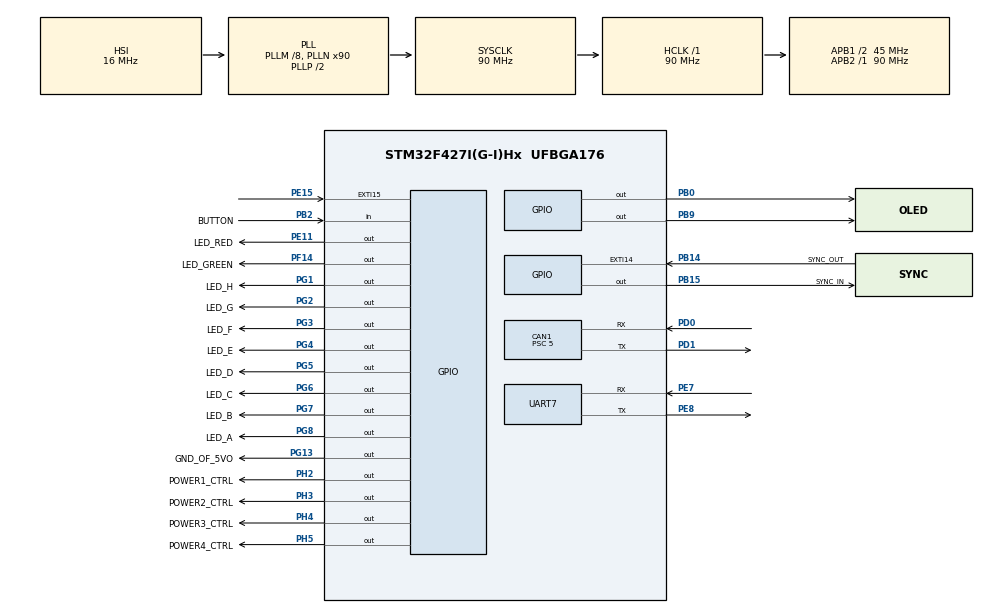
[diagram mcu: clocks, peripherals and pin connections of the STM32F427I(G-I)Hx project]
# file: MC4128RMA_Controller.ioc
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CAN1.ABOM=ENABLE
CAN1.BS1=CAN_BS1_3TQ
CAN1.BS2=CAN_BS2_5TQ
CAN1.CalculateBaudRate=1000000
CAN1.CalculateTimeBit=1000
CAN1.CalculateTimeQuantum=111.11111111111111
CAN1.Prescaler=5
Mcu.Family=STM32F4
Mcu.Name=STM32F427I(G-I)Hx
Mcu.Package=UFBGA176
NVIC.CAN1_RX0_IRQn=true\:0\:0\:true\:true\:true\:1\:true\:true\:true
NVIC.CAN1_RX1_IRQn=true\:0\:0\:false\:true\:true\:2\:true\:true\:true
NVIC.CAN1_TX_IRQn=true\:0\:0\:false\:true\:true\:3\:true\:true\:true
NVIC.PriorityGroup=NVIC_PRIORITYGROUP_4
NVIC.UART7_IRQn=true\:1\:0\:true\:false\:true\:true\:true\:true
PA0/WKUP.GPIO_Label=SERVO_PWM_S
PA0/WKUP.GPIO_ModeDefaultPP=GPIO_MODE_AF_PP
PA0/WKUP.GPIO_PuPd=GPIO_NOPULL
PA0/WKUP.GPIO_Speed=GPIO_SPEED_FREQ_LOW
PA0/WKUP.Signal=S_TIM2_CH1_ETR
PA1.GPIO_Label=SERVO_PWM_T
PA1.GPIO_ModeDefaultPP=GPIO_MODE_AF_PP
PA1.GPIO_PuPd=GPIO_NOPULL
PA1.GPIO_Speed=GPIO_SPEED_FREQ_LOW
PA1.Signal=S_TIM2_CH2
PA13.Mode=Serial_Wire
PA13.Signal=SYS_JTMS-SWDIO
PA14.Mode=Serial_Wire
PA14.Signal=SYS_JTCK-SWCLK
PA2.GPIO_Label=SERVO_PWM_U
PA2.GPIO_ModeDefaultPP=GPIO_MODE_AF_PP
PA2.GPIO_PuPd=GPIO_NOPULL
PA2.GPIO_Speed=GPIO_SPEED_FREQ_LOW
PA2.Signal=S_TIM2_CH3
PA3.GPIO_Label=SERVO_PWM_V
PA3.GPIO_ModeDefaultPP=GPIO_MODE_AF_PP
PA3.GPIO_PuPd=GPIO_NOPULL
PA3.GPIO_Speed=GPIO_SPEED_FREQ_LOW
PA3.Signal=S_TIM2_CH4
PA6.GPIO_Label=OLED_MI
PA6.Signal=SPI1_MISO
PA9.GPIO_Label=SERVO_PWM_A9
PA9.GPIO_ModeDefaultPP=GPIO_MODE_AF_PP
PA9.GPIO_Speed=GPIO_SPEED_FREQ_LOW
PA9.Signal=S_TIM1_CH2
PB0.GPIO_Label=OLED_B0?
PB0.Signal=GPIO_Output
PB13.Signal=CAN2_TX
PB14.GPIO_Label=SYNC_OUT
PB14.Signal=GPXTI14
PB15.GPIO_Label=SYNC_IN
PB15.Signal=GPIO_Output
PB2/BOOT1.GPIO_Label=BUTTON
PB2/BOOT1.Signal=GPIO_Input
PB5.GPIO_Label=HEAT_IMU
PB5.Signal=S_TIM3_CH2
PB7.GPIO_Label=DBUS_RX
PB7.Signal=USART1_RX
PB9.GPIO_Label=OLED_B9?
PB9.Signal=GPIO_Output
PD0.Mode=CAN_Activate
PD0.Signal=CAN1_RX
PD1.Mode=CAN_Activate
PD1.Signal=CAN1_TX
PD12.GPIO_Label=SERVO_PWM_H
PD12.GPIO_ModeDefaultPP=GPIO_MODE_AF_PP
PD12.GPIO_PuPd=GPIO_NOPULL
PD12.GPIO_Speed=GPIO_SPEED_FREQ_LOW
PD12.Signal=S_TIM4_CH1
PD13.GPIO_Label=SERVO_PWM_G
PD13.GPIO_ModeDefaultPP=GPIO_MODE_AF_PP
PD13.GPIO_PuPd=GPIO_NOPULL
PD13.GPIO_Speed=GPIO_SPEED_FREQ_LOW
PD13.Signal=S_TIM4_CH2
PD14.GPIO_Label=SERVO_PWM_F
PD14.GPIO_ModeDefaultPP=GPIO_MODE_AF_PP
PD14.GPIO_PuPd=GPIO_NOPULL
PD14.GPIO_Speed=GPIO_SPEED_FREQ_LOW
PD14.Signal=S_TIM4_CH3
PD15.GPIO_Label=SERVO_PWM_E
PD15.GPIO_ModeDefaultPP=GPIO_MODE_AF_PP
PD15.GPIO_PuPd=GPIO_NOPULL
PD15.GPIO_Speed=GPIO_SPEED_FREQ_LOW
PD15.Signal=S_TIM4_CH4
PE11.GPIO_Label=LED_RED
PE11.PinState=GPIO_PIN_RESET
PE11.Signal=GPIO_Output
PE13.GPIO_Label=SERVO_PWM_E13
PE13.GPIO_ModeDefaultPP=GPIO_MODE_AF_PP
PE13.GPIO_Speed=GPIO_SPEED_FREQ_LOW
PE13.Signal=S_TIM1_CH3
PE15.GPIO_Label=SD_EXTI?
PE15.GPIO_ModeDefaultEXTI=GPIO_MODE_IT_RISING_FALLING
PE15.Signal=GPXTI15
PE7.Mode=Asynchronous
PE7.Signal=UART7_RX
PE8.Mode=Asynchronous
PE8.Signal=UART7_TX
PF14.GPIO_Label=LED_GREEN
PF14.Signal=GPIO_Output
PG1.GPIO_Label=LED_H
PG1.GPIO_ModeDefaultOutputPP=GPIO_MODE_OUTPUT_PP
PG1.GPIO_PuPd=GPIO_NOPULL
PG1.GPIO_Speed=GPIO_SPEED_FREQ_LOW
PG1.PinState=GPIO_PIN_SET
PG1.Signal=GPIO_Output
PG13.GPIO_Label=GND_OF_5VO
PG13.Signal=GPIO_Output
PG2.GPIO_Label=LED_G
PG2.GPIO_ModeDefaultOutputPP=GPIO_MODE_OUTPUT_PP
PG2.GPIO_PuPd=GPIO_NOPULL
PG2.GPIO_Speed=GPIO_SPEED_FREQ_LOW
PG2.PinState=GPIO_PIN_SET
PG2.Signal=GPIO_Output
PG3.GPIO_Label=LED_F
PG3.PinState=GPIO_PIN_SET
PG3.Signal=GPIO_Output
PG4.GPIO_Label=LED_E
PG4.GPIO_ModeDefaultOutputPP=GPIO_MODE_OUTPUT_PP
PG4.GPIO_PuPd=GPIO_NOPULL
PG4.GPIO_Speed=GPIO_SPEED_FREQ_LOW
PG4.PinState=GPIO_PIN_SET
PG4.Signal=GPIO_Output
PG5.GPIO_Label=LED_D
PG5.GPIO_ModeDefaultOutputPP=GPIO_MODE_OUTPUT_PP
PG5.GPIO_PuPd=GPIO_NOPULL
PG5.GPIO_Speed=GPIO_SPEED_FREQ_LOW
PG5.PinState=GPIO_PIN_SET
PG5.Signal=GPIO_Output
PG6.GPIO_Label=LED_C
PG6.GPIO_ModeDefaultOutputPP=GPIO_MODE_OUTPUT_PP
PG6.GPIO_PuPd=GPIO_NOPULL
PG6.GPIO_Speed=GPIO_SPEED_FREQ_LOW
PG6.PinState=GPIO_PIN_SET
PG6.Signal=GPIO_Output
PG7.GPIO_Label=LED_B
PG7.GPIO_ModeDefaultOutputPP=GPIO_MODE_OUTPUT_PP
PG7.GPIO_PuPd=GPIO_NOPULL
PG7.GPIO_Speed=GPIO_SPEED_FREQ_LOW
PG7.PinState=GPIO_PIN_SET
PG7.Signal=GPIO_Output
PG8.GPIO_Label=LED_A
PG8.GPIO_ModeDefaultOutputPP=GPIO_MODE_OUTPUT_PP
PG8.GPIO_PuPd=GPIO_NOPULL
PG8.GPIO_Speed=GPIO_SPEED_FREQ_LOW
PG8.PinState=GPIO_PIN_SET
PG8.Signal=GPIO_Output
PH0/OSC_IN.Mode=HSE-External-Clock-Source
PH0/OSC_IN.Signal=RCC_OSC_IN
PH1/OSC_OUT.Mode=HSE-External-Clock-Source
PH1/OSC_OUT.Signal=RCC_OSC_OUT
PH10.GPIO_Label=SERVO_PWM_D
PH10.GPIO_ModeDefaultPP=GPIO_MODE_AF_PP
PH10.GPIO_PuPd=GPIO_NOPULL
PH10.GPIO_Speed=GPIO_SPEED_FREQ_LOW
PH10.Signal=S_TIM5_CH1
PH11.GPIO_Label=SERVO_PWM_C
PH11.GPIO_ModeDefaultPP=GPIO_MODE_AF_PP
PH11.GPIO_PuPd=GPIO_NOPULL
PH11.GPIO_Speed=GPIO_SPEED_FREQ_LOW
PH11.Signal=S_TIM5_CH2
PH12.GPIO_Label=SERVO_PWM_B
PH12.GPIO_ModeDefaultPP=GPIO_MODE_AF_PP
PH12.GPIO_PuPd=GPIO_NOPULL
PH12.GPIO_Speed=GPIO_SPEED_FREQ_LOW
PH12.Signal=S_TIM5_CH3
PH2.GPIO_Label=POWER1_CTRL
PH2.GPIO_ModeDefaultOutputPP=GPIO_MODE_OUTPUT_PP
PH2.GPIO_PuPd=GPIO_NOPULL
PH2.GPIO_Speed=GPIO_SPEED_FREQ_LOW
PH2.PinState=GPIO_PIN_SET
PH2.Signal=GPIO_Output
PH3.GPIO_Label=POWER2_CTRL
PH3.GPIO_ModeDefaultOutputPP=GPIO_MODE_OUTPUT_PP
PH3.GPIO_PuPd=GPIO_NOPULL
PH3.GPIO_Speed=GPIO_SPEED_FREQ_LOW
PH3.PinState=GPIO_PIN_SET
PH3.Signal=GPIO_Output
PH4.GPIO_Label=POWER3_CTRL
PH4.GPIO_ModeDefaultOutputPP=GPIO_MODE_OUTPUT_PP
PH4.GPIO_PuPd=GPIO_NOPULL
PH4.GPIO_Speed=GPIO_SPEED_FREQ_LOW
PH4.PinState=GPIO_PIN_SET
PH4.Signal=GPIO_Output
PH5.GPIO_Label=POWER4_CTRL
PH5.GPIO_ModeDefaultOutputPP=GPIO_MODE_OUTPUT_PP
PH5.GPIO_PuPd=GPIO_NOPULL
PH5.GPIO_Speed=GPIO_SPEED_FREQ_LOW
PH5.PinState=GPIO_PIN_SET
PH5.Signal=GPIO_Output
PI0.GPIO_Label=SERVO_PWM_A
PI0.GPIO_ModeDefaultPP=GPIO_MODE_AF_PP
PI0.GPIO_PuPd=GPIO_NOPULL
PI0.GPIO_Speed=GPIO_SPEED_FREQ_LOW
PI0.Signal=S_TIM5_CH4
PI2.GPIO_Label=SERVO_PWM_Z
PI2.GPIO_ModeDefaultPP=GPIO_MODE_AF_PP
PI2.GPIO_PuPd=GPIO_NOPULL
PI2.GPIO_Speed=GPIO_SPEED_FREQ_LOW
PI2.Signal=S_TIM8_CH4
PI5.GPIO_Label=SERVO_PWM_W
PI5.GPIO_ModeDefaultPP=GPIO_MODE_AF_PP
PI5.GPIO_PuPd=GPIO_NOPULL
PI5.GPIO_Speed=GPIO_SPEED_FREQ_LOW
PI5.Signal=S_TIM8_CH1
PI6.GPIO_Label=SERVO_PWM_X
PI6.GPIO_ModeDefaultPP=GPIO_MODE_AF_PP
PI6.GPIO_PuPd=GPIO_NOPULL
PI6.GPIO_Speed=GPIO_SPEED_FREQ_LOW
PI6.Signal=S_TIM8_CH2
PI7.GPIO_Label=SERVO_PWM_Y
PI7.GPIO_ModeDefaultPP=GPIO_MODE_AF_PP
PI7.GPIO_PuPd=GPIO_NOPULL
PI7.GPIO_Speed=GPIO_SPEED_FREQ_LOW
PI7.Signal=S_TIM8_CH3
ProjectManager.HeapSize=0x200
ProjectManager.StackSize=0x400
ProjectManager.TargetToolchain=STM32CubeIDE
RCC.48MHZClocksFreq_Value=60000000
RCC.AHBFreq_Value=90000000
RCC.APB1CLKDivider=RCC_HCLK_DIV2
RCC.APB1Freq_Value=45000000
RCC.APB1TimFreq_Value=90000000
RCC.APB2Freq_Value=90000000
RCC.APB2TimFreq_Value=90000000
RCC.CortexFreq_Value=90000000
RCC.HCLKFreq_Value=90000000
RCC.HSE_VALUE=12000000
RCC.HSI_VALUE=16000000
RCC.LSE_VALUE=32768
RCC.PLLM=8
RCC.PLLN=90
RCC.PLLQ=3
RCC.SYSCLKFreq_VALUE=90000000
RCC.SYSCLKSource=RCC_SYSCLKSOURCE_PLLCLK
RCC.VCOOutputFreq_Value=180000000
SH.S_TIM1_CH2.0=TIM1_CH2
SH.S_TIM1_CH3.0=TIM1_CH3
SH.S_TIM2_CH1_ETR.0=TIM2_CH1
SH.S_TIM2_CH2.0=TIM2_CH2
SH.S_TIM2_CH3.0=TIM2_CH3
SH.S_TIM2_CH4.0=TIM2_CH4
SH.S_TIM3_CH2.0=TIM3_CH2
SH.S_TIM4_CH1.0=TIM4_CH1
SH.S_TIM4_CH2.0=TIM4_CH2
SH.S_TIM4_CH3.0=TIM4_CH3
SH.S_TIM4_CH4.0=TIM4_CH4
SH.S_TIM5_CH1.0=TIM5_CH1
SH.S_TIM5_CH2.0=TIM5_CH2
SH.S_TIM5_CH3.0=TIM5_CH3
SH.S_TIM5_CH4.0=TIM5_CH4
SH.S_TIM8_CH1.0=TIM8_CH1
SH.S_TIM8_CH2.0=TIM8_CH2
SH.S_TIM8_CH3.0=TIM8_CH3
SH.S_TIM8_CH4.0=TIM8_CH4
UART7.VirtualMode=Asynchronous
VP_CRC_VS_CRC.Mode=CRC_Activate
board=custom

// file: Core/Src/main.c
/* USER CODE BEGIN Header */
/**
 ******************************************************************************
 * @file           : main.c
 * @brief          : Main program body
 ******************************************************************************
 * @attention
 *
 * Copyright (c) 2024 STMicroelectronics.
 * All rights reserved.
 *
 * This software is licensed under terms that can be found in the LICENSE file
 * in the root directory of this software component.
 * If no LICENSE file comes with this software, it is provided AS-IS.
 *
 ******************************************************************************
 */
/* USER CODE END Header */
#include "main.h"

/* USER CODE BEGIN Includes */
#include <stdio.h>
#include "USR_CAN.h"
#include "USR_PID.h"
#include "USR_RC.h"
/* USER CODE END Includes */

CAN_HandleTypeDef hcan1;

CRC_HandleTypeDef hcrc;

UART_HandleTypeDef huart7;

void SystemClock_Config(void);
static void MX_GPIO_Init(void);
static void MX_CAN1_Init(void);
static void MX_UART7_Init(void);
static void MX_CRC_Init(void);
static void MX_NVIC_Init(void);

int main(void) {

	/* MCU Configuration--------------------------------------------------------*/

	/* Reset of all peripherals, Initializes the Flash interface and the Systick. */
	HAL_Init();

	/* Configure the system clock */
	SystemClock_Config();

	/* Initialize all configured peripherals */
	MX_GPIO_Init();
	MX_CAN1_Init();
	MX_UART7_Init();
	MX_CRC_Init();

	/* Initialize interrupts */
	MX_NVIC_Init();
	/* USER CODE BEGIN 2 */

	HAL_GPIO_WritePin(POWER1_CTRL_GPIO_Port, POWER1_CTRL_Pin, GPIO_PIN_SET);
	HAL_GPIO_WritePin(POWER3_CTRL_GPIO_Port, POWER3_CTRL_Pin, GPIO_PIN_SET);
	HAL_GPIO_WritePin(LED_RED_GPIO_Port, LED_RED_Pin, GPIO_PIN_SET);
	HAL_GPIO_WritePin(GND_OF_5VO_GPIO_Port, GND_OF_5VO_Pin, GPIO_PIN_SET);

	PID_StructInit(&PID_MotorSpeed[MotorX], 4000.f, 10000.f, 5.0f, 0, 5.1f, 0);
	PID_StructInit(&PID_MotorSpeed[MotorY], 4000.f, 10000.f, 5.0f, 0, 5.0f, 0);
	PID_StructInit(&PID_MotorPosition[MotorX], 100000.f, 10000.f, 0.08f, 0, 0.84f, 0);
	PID_StructInit(&PID_MotorPosition[MotorY], 100000.f, 10000.f, 0.08f, 0, 0.84f, 0);

	static double targetSpeed[2], targetPosition[2];
	targetSpeed[0] = 192;
	targetSpeed[1] = 192;

	iBUS_Start_RxIT();
	CAN1_START_IRQ();

	HAL_Delay(100);
	/* USER CODE END 2 */
	iBUS_Channel[0] = 1500;
	/* Infinite loop */
	while (1) {

		/* USER CODE BEGIN 3 */
		targetPosition[MotorX] += (iBUS_Channel[0] - 1500) * 1.2;
		targetSpeed[MotorX] = PID_Calculate(&PID_MotorPosition[MotorX], Motor[MotorX].TOTAL_ANGLE, targetPosition[MotorX]);
		PID_Calculate(&PID_MotorSpeed[MotorX], Motor[MotorX].RPM, targetSpeed[MotorX]);

		targetPosition[MotorY] += (iBUS_Channel[3] - 1500) * 1.2;
		targetSpeed[MotorY] = PID_Calculate(&PID_MotorPosition[MotorY], Motor[MotorY].TOTAL_ANGLE, targetPosition[MotorY]);
		PID_Calculate(&PID_MotorSpeed[MotorY], Motor[MotorY].RPM, targetSpeed[MotorY]);

		Motor_SendCmd(PID_MotorSpeed[MotorX].Output, PID_MotorSpeed[MotorY].Output);
		HAL_Delay(2);
	}
	/* USER CODE END 3 */
}

void SystemClock_Config(void) {
	RCC_OscInitTypeDef RCC_OscInitStruct = { 0 };
	RCC_ClkInitTypeDef RCC_ClkInitStruct = { 0 };

	/** Configure the main internal regulator output voltage
	 */
	__HAL_RCC_PWR_CLK_ENABLE();
	__HAL_PWR_VOLTAGESCALING_CONFIG(PWR_REGULATOR_VOLTAGE_SCALE3);

	/** Initializes the RCC Oscillators according to the specified parameters
	 * in the RCC_OscInitTypeDef structure.
	 */
	RCC_OscInitStruct.OscillatorType = RCC_OSCILLATORTYPE_HSI;
	RCC_OscInitStruct.HSIState = RCC_HSI_ON;
	RCC_OscInitStruct.HSICalibrationValue = RCC_HSICALIBRATION_DEFAULT;
	RCC_OscInitStruct.PLL.PLLState = RCC_PLL_ON;
	RCC_OscInitStruct.PLL.PLLSource = RCC_PLLSOURCE_HSI;
	RCC_OscInitStruct.PLL.PLLM = 8;
	RCC_OscInitStruct.PLL.PLLN = 90;
	RCC_OscInitStruct.PLL.PLLP = RCC_PLLP_DIV2;
	RCC_OscInitStruct.PLL.PLLQ = 3;
	if (HAL_RCC_OscConfig(&RCC_OscInitStruct) != HAL_OK) {
		Error_Handler();
	}

	/** Activate the Over-Drive mode
	 */
	if (HAL_PWREx_EnableOverDrive() != HAL_OK) {
		Error_Handler();
	}

	/** Initializes the CPU, AHB and APB buses clocks
	 */
	RCC_ClkInitStruct.ClockType = RCC_CLOCKTYPE_HCLK | RCC_CLOCKTYPE_SYSCLK | RCC_CLOCKTYPE_PCLK1 | RCC_CLOCKTYPE_PCLK2;
	RCC_ClkInitStruct.SYSCLKSource = RCC_SYSCLKSOURCE_PLLCLK;
	RCC_ClkInitStruct.AHBCLKDivider = RCC_SYSCLK_DIV1;
	RCC_ClkInitStruct.APB1CLKDivider = RCC_HCLK_DIV2;
	RCC_ClkInitStruct.APB2CLKDivider = RCC_HCLK_DIV1;

	if (HAL_RCC_ClockConfig(&RCC_ClkInitStruct, FLASH_LATENCY_2) != HAL_OK) {
		Error_Handler();
	}
}

/**
 * @brief NVIC Configuration.
 * @retval None
 */
static void MX_NVIC_Init(void) {
	/* CAN1_RX0_IRQn interrupt configuration */
	HAL_NVIC_SetPriority(CAN1_RX0_IRQn, 0, 0);
	HAL_NVIC_EnableIRQ(CAN1_RX0_IRQn);
	/* CAN1_RX1_IRQn interrupt configuration */
	HAL_NVIC_SetPriority(CAN1_RX1_IRQn, 0, 0);
	HAL_NVIC_EnableIRQ(CAN1_RX1_IRQn);
	/* CAN1_TX_IRQn interrupt configuration */
	HAL_NVIC_SetPriority(CAN1_TX_IRQn, 0, 0);
	HAL_NVIC_EnableIRQ(CAN1_TX_IRQn);
}

static void MX_CAN1_Init(void) {

	hcan1.Instance = CAN1;
	hcan1.Init.Prescaler = 5;
	hcan1.Init.Mode = CAN_MODE_NORMAL;
	hcan1.Init.SyncJumpWidth = CAN_SJW_1TQ;
	hcan1.Init.TimeSeg1 = CAN_BS1_3TQ;
	hcan1.Init.TimeSeg2 = CAN_BS2_5TQ;
	hcan1.Init.TimeTriggeredMode = DISABLE;
	hcan1.Init.AutoBusOff = ENABLE;
	hcan1.Init.AutoWakeUp = DISABLE;
	hcan1.Init.AutoRetransmission = DISABLE;
	hcan1.Init.ReceiveFifoLocked = DISABLE;
	hcan1.Init.TransmitFifoPriority = DISABLE;
	if (HAL_CAN_Init(&hcan1) != HAL_OK) {
		Error_Handler();
	}
	/* USER CODE BEGIN CAN1_Init 2 */
	CAN_FilterTypeDef CAN_FilterConfigStructure;
	CAN_FilterConfigStructure.FilterIdHigh = 0x0000;
	CAN_FilterConfigStructure.FilterIdLow = 0x0000;
	CAN_FilterConfigStructure.FilterMaskIdHigh = 0x0000;
	CAN_FilterConfigStructure.FilterMaskIdLow = 0x0000;
	CAN_FilterConfigStructure.FilterFIFOAssignment = CAN_FilterFIFO0;
	CAN_FilterConfigStructure.FilterBank = 0;
	CAN_FilterConfigStructure.FilterMode = CAN_FILTERMODE_IDMASK;
	CAN_FilterConfigStructure.FilterScale = CAN_FILTERSCALE_32BIT;
	CAN_FilterConfigStructure.FilterActivation = CAN_FILTER_ENABLE;
	if (HAL_CAN_ConfigFilter(&hcan1, &CAN_FilterConfigStructure) != HAL_OK) {
		Error_Handler();
	}
	/* USER CODE END CAN1_Init 2 */

}

static void MX_CRC_Init(void) {

	hcrc.Instance = CRC;
	if (HAL_CRC_Init(&hcrc) != HAL_OK) {
		Error_Handler();
	}

}

static void MX_UART7_Init(void) {

	huart7.Instance = UART7;
	huart7.Init.BaudRate = 115200;
	huart7.Init.WordLength = UART_WORDLENGTH_8B;
	huart7.Init.StopBits = UART_STOPBITS_1;
	huart7.Init.Parity = UART_PARITY_NONE;
	huart7.Init.Mode = UART_MODE_TX_RX;
	huart7.Init.HwFlowCtl = UART_HWCONTROL_NONE;
	huart7.Init.OverSampling = UART_OVERSAMPLING_16;
	if (HAL_UART_Init(&huart7) != HAL_OK) {
		Error_Handler();
	}

}

static void MX_GPIO_Init(void) {
	GPIO_InitTypeDef GPIO_InitStruct = { 0 };

	/* GPIO Ports Clock Enable */
	__HAL_RCC_GPIOB_CLK_ENABLE();
	__HAL_RCC_GPIOG_CLK_ENABLE();
	__HAL_RCC_GPIOA_CLK_ENABLE();
	__HAL_RCC_GPIOD_CLK_ENABLE();
	__HAL_RCC_GPIOI_CLK_ENABLE();
	__HAL_RCC_GPIOH_CLK_ENABLE();
	__HAL_RCC_GPIOE_CLK_ENABLE();
	__HAL_RCC_GPIOF_CLK_ENABLE();

	/*Configure GPIO pin Output Level */
	HAL_GPIO_WritePin(GND_OF_5VO_GPIO_Port, GND_OF_5VO_Pin, GPIO_PIN_RESET);

	/*Configure GPIO pin Output Level */
	HAL_GPIO_WritePin(GPIOB, OLED_B9__Pin | OLED_B0__Pin | SYNC_IN_Pin, GPIO_PIN_RESET);

	/*Configure GPIO pin Output Level */
	HAL_GPIO_WritePin(GPIOH,
	POWER1_CTRL_Pin | POWER2_CTRL_Pin | POWER3_CTRL_Pin | POWER4_CTRL_Pin, GPIO_PIN_SET);

	/*Configure GPIO pin Output Level */
	HAL_GPIO_WritePin(GPIOG,
	LED_A_Pin | LED_B_Pin | LED_C_Pin | LED_D_Pin | LED_E_Pin | LED_F_Pin | LED_G_Pin | LED_H_Pin, GPIO_PIN_SET);

	/*Configure GPIO pin Output Level */
	HAL_GPIO_WritePin(LED_RED_GPIO_Port, LED_RED_Pin, GPIO_PIN_RESET);

	/*Configure GPIO pin Output Level */
	HAL_GPIO_WritePin(LED_GREEN_GPIO_Port, LED_GREEN_Pin, GPIO_PIN_RESET);

	/*Configure GPIO pin : HEAT_IMU_Pin */
	GPIO_InitStruct.Pin = HEAT_IMU_Pin;
	GPIO_InitStruct.Mode = GPIO_MODE_AF_PP;
	GPIO_InitStruct.Pull = GPIO_NOPULL;
	GPIO_InitStruct.Speed = GPIO_SPEED_FREQ_LOW;
	GPIO_InitStruct.Alternate = GPIO_AF2_TIM3;
	HAL_GPIO_Init(HEAT_IMU_GPIO_Port, &GPIO_InitStruct);

	/*Configure GPIO pins : GND_OF_5VO_Pin LED_A_Pin LED_B_Pin LED_C_Pin
	 LED_D_Pin LED_E_Pin LED_F_Pin LED_G_Pin
	 LED_H_Pin */
	GPIO_InitStruct.Pin = GND_OF_5VO_Pin | LED_A_Pin | LED_B_Pin | LED_C_Pin | LED_D_Pin | LED_E_Pin | LED_F_Pin | LED_G_Pin | LED_H_Pin;
	GPIO_InitStruct.Mode = GPIO_MODE_OUTPUT_PP;
	GPIO_InitStruct.Pull = GPIO_NOPULL;
	GPIO_InitStruct.Speed = GPIO_SPEED_FREQ_LOW;
	HAL_GPIO_Init(GPIOG, &GPIO_InitStruct);

	/*Configure GPIO pins : OLED_B9__Pin OLED_B0__Pin SYNC_IN_Pin */
	GPIO_InitStruct.Pin = OLED_B9__Pin | OLED_B0__Pin | SYNC_IN_Pin;
	GPIO_InitStruct.Mode = GPIO_MODE_OUTPUT_PP;
	GPIO_InitStruct.Pull = GPIO_NOPULL;
	GPIO_InitStruct.Speed = GPIO_SPEED_FREQ_LOW;
	HAL_GPIO_Init(GPIOB, &GPIO_InitStruct);

	/*Configure GPIO pin : DBUS_RX_Pin */
	GPIO_InitStruct.Pin = DBUS_RX_Pin;
	GPIO_InitStruct.Mode = GPIO_MODE_AF_PP;
	GPIO_InitStruct.Pull = GPIO_NOPULL;
	GPIO_InitStruct.Speed = GPIO_SPEED_FREQ_VERY_HIGH;
	GPIO_InitStruct.Alternate = GPIO_AF7_USART1;
	HAL_GPIO_Init(DBUS_RX_GPIO_Port, &GPIO_InitStruct);

	/*Configure GPIO pins : SERVO_PWM_Y_Pin SERVO_PWM_X_Pin SERVO_PWM_W_Pin SERVO_PWM_Z_Pin */
	GPIO_InitStruct.Pin = SERVO_PWM_Y_Pin | SERVO_PWM_X_Pin | SERVO_PWM_W_Pin | SERVO_PWM_Z_Pin;
	GPIO_InitStruct.Mode = GPIO_MODE_AF_PP;
	GPIO_InitStruct.Pull = GPIO_NOPULL;
	GPIO_InitStruct.Speed = GPIO_SPEED_FREQ_LOW;
	GPIO_InitStruct.Alternate = GPIO_AF3_TIM8;
	HAL_GPIO_Init(GPIOI, &GPIO_InitStruct);

	/*Configure GPIO pin : SERVO_PWM_A_Pin */
	GPIO_InitStruct.Pin = SERVO_PWM_A_Pin;
	GPIO_InitStruct.Mode = GPIO_MODE_AF_PP;
	GPIO_InitStruct.Pull = GPIO_NOPULL;
	GPIO_InitStruct.Speed = GPIO_SPEED_FREQ_LOW;
	GPIO_InitStruct.Alternate = GPIO_AF2_TIM5;
	HAL_GPIO_Init(SERVO_PWM_A_GPIO_Port, &GPIO_InitStruct);

	/*Configure GPIO pin : SERVO_PWM_A9_Pin */
	GPIO_InitStruct.Pin = SERVO_PWM_A9_Pin;
	GPIO_InitStruct.Mode = GPIO_MODE_AF_PP;
	GPIO_InitStruct.Pull = GPIO_NOPULL;
	GPIO_InitStruct.Speed = GPIO_SPEED_FREQ_LOW;
	GPIO_InitStruct.Alternate = GPIO_AF1_TIM1;
	HAL_GPIO_Init(SERVO_PWM_A9_GPIO_Port, &GPIO_InitStruct);

	/*Configure GPIO pins : POWER1_CTRL_Pin POWER2_CTRL_Pin POWER3_CTRL_Pin POWER4_CTRL_Pin */
	GPIO_InitStruct.Pin = POWER1_CTRL_Pin | POWER2_CTRL_Pin | POWER3_CTRL_Pin | POWER4_CTRL_Pin;
	GPIO_InitStruct.Mode = GPIO_MODE_OUTPUT_PP;
	GPIO_InitStruct.Pull = GPIO_NOPULL;
	GPIO_InitStruct.Speed = GPIO_SPEED_FREQ_LOW;
	HAL_GPIO_Init(GPIOH, &GPIO_InitStruct);

	/*Configure GPIO pins : SERVO_PWM_B_Pin SERVO_PWM_C_Pin SERVO_PWM_D_Pin */
	GPIO_InitStruct.Pin = SERVO_PWM_B_Pin | SERVO_PWM_C_Pin | SERVO_PWM_D_Pin;
	GPIO_InitStruct.Mode = GPIO_MODE_AF_PP;
	GPIO_InitStruct.Pull = GPIO_NOPULL;
	GPIO_InitStruct.Speed = GPIO_SPEED_FREQ_LOW;
	GPIO_InitStruct.Alternate = GPIO_AF2_TIM5;
	HAL_GPIO_Init(GPIOH, &GPIO_InitStruct);

	/*Configure GPIO pins : SERVO_PWM_E_Pin SERVO_PWM_F_Pin SERVO_PWM_G_Pin SERVO_PWM_H_Pin */
	GPIO_InitStruct.Pin = SERVO_PWM_E_Pin | SERVO_PWM_F_Pin | SERVO_PWM_G_Pin | SERVO_PWM_H_Pin;
	GPIO_InitStruct.Mode = GPIO_MODE_AF_PP;
	GPIO_InitStruct.Pull = GPIO_NOPULL;
	GPIO_InitStruct.Speed = GPIO_SPEED_FREQ_LOW;
	GPIO_InitStruct.Alternate = GPIO_AF2_TIM4;
	HAL_GPIO_Init(GPIOD, &GPIO_InitStruct);

	/*Configure GPIO pin : BUTTON_Pin */
	GPIO_InitStruct.Pin = BUTTON_Pin;
	GPIO_InitStruct.Mode = GPIO_MODE_INPUT;
	GPIO_InitStruct.Pull = GPIO_NOPULL;
	HAL_GPIO_Init(BUTTON_GPIO_Port, &GPIO_InitStruct);

	/*Configure GPIO pins : SERVO_PWM_T_Pin SERVO_PWM_S_Pin SERVO_PWM_U_Pin SERVO_PWM_V_Pin */
	GPIO_InitStruct.Pin = SERVO_PWM_T_Pin | SERVO_PWM_S_Pin | SERVO_PWM_U_Pin | SERVO_PWM_V_Pin;
	GPIO_InitStruct.Mode = GPIO_MODE_AF_PP;
	GPIO_InitStruct.Pull = GPIO_NOPULL;
	GPIO_InitStruct.Speed = GPIO_SPEED_FREQ_LOW;
	GPIO_InitStruct.Alternate = GPIO_AF1_TIM2;
	HAL_GPIO_Init(GPIOA, &GPIO_InitStruct);

	/*Configure GPIO pin : SERVO_PWM_E13_Pin */
	GPIO_InitStruct.Pin = SERVO_PWM_E13_Pin;
	GPIO_InitStruct.Mode = GPIO_MODE_AF_PP;
	GPIO_InitStruct.Pull = GPIO_NOPULL;
	GPIO_InitStruct.Speed = GPIO_SPEED_FREQ_LOW;
	GPIO_InitStruct.Alternate = GPIO_AF1_TIM1;
	HAL_GPIO_Init(SERVO_PWM_E13_GPIO_Port, &GPIO_InitStruct);

	/*Configure GPIO pin : OLED_MI_Pin */
	GPIO_InitStruct.Pin = OLED_MI_Pin;
	GPIO_InitStruct.Mode = GPIO_MODE_AF_PP;
	GPIO_InitStruct.Pull = GPIO_NOPULL;
	GPIO_InitStruct.Speed = GPIO_SPEED_FREQ_VERY_HIGH;
	GPIO_InitStruct.Alternate = GPIO_AF5_SPI1;
	HAL_GPIO_Init(OLED_MI_GPIO_Port, &GPIO_InitStruct);

	/*Configure GPIO pin : LED_RED_Pin */
	GPIO_InitStruct.Pin = LED_RED_Pin;
	GPIO_InitStruct.Mode = GPIO_MODE_OUTPUT_PP;
	GPIO_InitStruct.Pull = GPIO_NOPULL;
	GPIO_InitStruct.Speed = GPIO_SPEED_FREQ_LOW;
	HAL_GPIO_Init(LED_RED_GPIO_Port, &GPIO_InitStruct);

	/*Configure GPIO pin : PB13 */
	GPIO_InitStruct.Pin = GPIO_PIN_13;
	GPIO_InitStruct.Mode = GPIO_MODE_AF_PP;
	GPIO_InitStruct.Pull = GPIO_NOPULL;
	GPIO_InitStruct.Speed = GPIO_SPEED_FREQ_VERY_HIGH;
	GPIO_InitStruct.Alternate = GPIO_AF9_CAN2;
	HAL_GPIO_Init(GPIOB, &GPIO_InitStruct);

	/*Configure GPIO pin : LED_GREEN_Pin */
	GPIO_InitStruct.Pin = LED_GREEN_Pin;
	GPIO_InitStruct.Mode = GPIO_MODE_OUTPUT_PP;
	GPIO_InitStruct.Pull = GPIO_NOPULL;
	GPIO_InitStruct.Speed = GPIO_SPEED_FREQ_LOW;
	HAL_GPIO_Init(LED_GREEN_GPIO_Port, &GPIO_InitStruct);

	/*Configure GPIO pin : SD_EXTI__Pin */
	GPIO_InitStruct.Pin = SD_EXTI__Pin;
	GPIO_InitStruct.Mode = GPIO_MODE_IT_RISING_FALLING;
	GPIO_InitStruct.Pull = GPIO_NOPULL;
	HAL_GPIO_Init(SD_EXTI__GPIO_Port, &GPIO_InitStruct);

	/*Configure GPIO pin : SYNC_OUT_Pin */
	GPIO_InitStruct.Pin = SYNC_OUT_Pin;
	GPIO_InitStruct.Mode = GPIO_MODE_IT_RISING;
	GPIO_InitStruct.Pull = GPIO_NOPULL;
	HAL_GPIO_Init(SYNC_OUT_GPIO_Port, &GPIO_InitStruct);

}

void Error_Handler(void) {
	/* USER CODE BEGIN Error_Handler_Debug */
	/* User can add his own implementation to report the HAL error return state */
	__disable_irq();
	HAL_GPIO_WritePin(GPIOF, GPIO_PIN_14, GPIO_PIN_SET);
	while (1) {
		HAL_GPIO_WritePin(GPIOE, GPIO_PIN_11, GPIO_PIN_SET);
		HAL_Delay(1000);
		HAL_GPIO_WritePin(GPIOE, GPIO_PIN_11, GPIO_PIN_RESET);
		HAL_Delay(1000);
	}
	/* USER CODE END Error_Handler_Debug */
}
